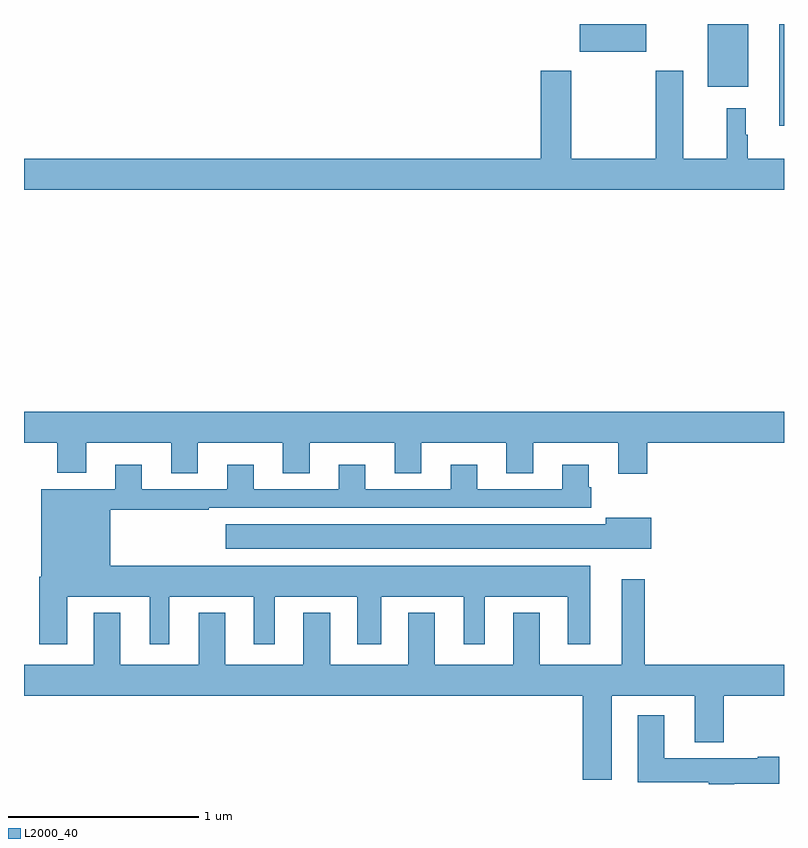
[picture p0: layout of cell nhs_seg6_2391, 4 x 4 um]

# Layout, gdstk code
import gdstk
lib = gdstk.Library(unit=1e-6, precision=1e-09)
def R(c, l, rs):  # rectangles x0, y0, x1, y1
    for r in rs: c.add(gdstk.rectangle(r[:2], r[2:], *l))
def P(c, l, *ps):  # polygons
    for p in ps: c.add(gdstk.Polygon(p, *l))
L2000_40 = (2000, 40)

nhs_seg6_2391 = lib.new_cell('nhs_seg6_2391')
R(nhs_seg6_2391, L2000_40, [(256.976,988.964,257,989.5), (256.598,989.171,256.813,989.5), (255.926,989.354,256.276,989.5)])
P(nhs_seg6_2391, L2000_40, [(257,988.792),(256.81,988.792),(256.81,988.916),(256.798,988.916),(256.798,989.056),(256.699,989.056),(256.699,988.792),(256.471,988.792),(256.471,989.254),(256.324,989.254),(256.324,988.792),(255.879,988.792),(255.879,989.254),(255.719,989.254),(255.719,988.792),(253,988.792),(253,988.628),(257,988.628)],
  [(256.279,987.296),(257,987.296),(257,987.46),(253,987.46),(253,987.296),(253.175,987.296),(253.175,987.137),(253.327,987.137),(253.327,987.296),(253.775,987.296),(253.775,987.136),(253.915,987.136),(253.915,987.296),(254.363,987.296),(254.363,987.136),(254.503,987.136),(254.503,987.296),(254.951,987.296),(254.951,987.136),(255.091,987.136),(255.091,987.296),(255.539,987.296),(255.539,987.136),(255.679,987.136),(255.679,987.296),(256.127,987.296),(256.127,987.132),(256.279,987.132)],
  [(253.228,986.486),(253.661,986.486),(253.661,986.235),(253.765,986.235),(253.765,986.486),(254.21,986.486),(254.21,986.235),(254.32,986.235),(254.32,986.486),(254.753,986.486),(254.753,986.235),(254.881,986.235),(254.881,986.486),(255.314,986.486),(255.314,986.235),(255.424,986.235),(255.424,986.486),(255.863,986.486),(255.863,986.235),(255.979,986.235),(255.979,986.65),(253.453,986.65),(253.453,986.943),(253.973,986.943),(253.973,986.955),(255.986,986.955),(255.986,987.063),(255.973,987.063),(255.973,987.181),(255.833,987.181),(255.833,987.051),(255.385,987.051),(255.385,987.181),(255.245,987.181),(255.245,987.051),(254.797,987.051),(254.797,987.181),(254.657,987.181),(254.657,987.051),(254.209,987.051),(254.209,987.181),(254.069,987.181),(254.069,987.051),(253.621,987.051),(253.621,987.181),(253.481,987.181),(253.481,987.052),(253.091,987.052),(253.091,986.59),(253.079,986.59),(253.079,986.235),(253.228,986.235)],
  [(256.3,986.902),(256.061,986.902),(256.061,986.866),(254.061,986.866),(254.061,986.738),(256.3,986.738)],
  [(256.093,985.964),(256.529,985.964),(256.529,985.721),(256.682,985.721),(256.682,985.964),(257,985.964),(257,986.128),(256.267,986.128),(256.267,986.578),(256.145,986.578),(256.145,986.128),(255.715,986.128),(255.715,986.401),(255.575,986.401),(255.575,986.128),(255.163,986.128),(255.163,986.401),(255.023,986.401),(255.023,986.128),(254.611,986.128),(254.611,986.401),(254.471,986.401),(254.471,986.128),(254.059,986.128),(254.059,986.401),(253.919,986.401),(253.919,986.128),(253.507,986.128),(253.507,986.401),(253.367,986.401),(253.367,986.128),(253,986.128),(253,985.964),(255.941,985.964),(255.941,985.523),(256.093,985.523)],
  [(256.739,985.502),(256.975,985.502),(256.975,985.644),(256.862,985.644),(256.862,985.636),(256.369,985.636),(256.369,985.861),(256.229,985.861),(256.229,985.508),(256.604,985.508),(256.604,985.5),(256.739,985.5)])

lib.write_gds('nhs_seg6_2391.gds')
